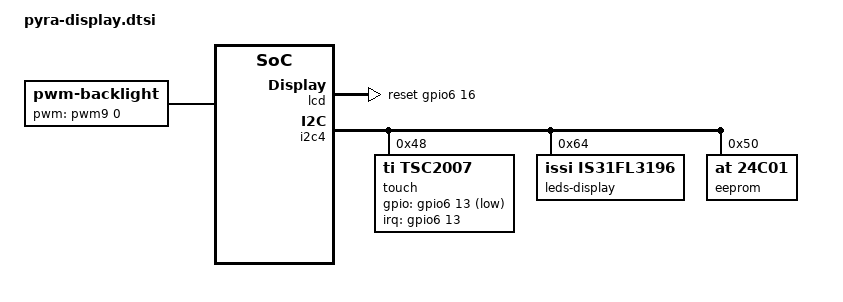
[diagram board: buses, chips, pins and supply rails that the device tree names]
// SPDX-License-Identifier: GPL-2.0-or-later
/*
 * Copyright (C) 2015-2016 OpenPandora - http://www.pyra-handheld.com/
 *
 * This program is free software; you can redistribute it and/or modify
 * it under the terms of the GNU General Public License version 2 as
 * published by the Free Software Foundation.
 */

/* set to e.g. 8300 if display uses a TPS6116x instead of TPS61040 (which is limited to 500 Hz PWM) */
#define BACKLIGHT_FREQ_HZ	83

/ {
	backlight: backlight {
		compatible = "pwm-backlight";
		pwms = <&pwm9 0 (1000000000 / BACKLIGHT_FREQ_HZ) 0>;
		pwm-names = "backlight";
		brightness-levels = <0 5 7 10 12 14 17 20 25 30 35 40 50 65 80 100>;
		default-brightness-level = <14>;	/* 80% */
		pinctrl-names = "default";
		pinctrl-0 = <&pyra_backlight_pins>;
	};

	pwm9: dmtimer-pwm@9 {
		compatible = "ti,omap-dmtimer-pwm";
		ti,timers = <&timer9>;
		#pwm-cells = <3>;
	};
};

/* LCD panel - MIPI */

&mipi_display_pins {
	pinctrl-single,pins = <
		OMAP5_IOPAD(0x124, PIN_OUTPUT_PULLUP | MUX_MODE6)	/* 0x124:[0:15] gpio6_162 - enable panel DC/DC */
		OMAP5_IOPAD(0x10e, PIN_OUTPUT_PULLDOWN | MUX_MODE6)	/* 0x10c:[31:16] gpio6_176 - panel reset */
		>;
};

&lcd {
	reg = <0>;
	compatible = "boe,btl507212-w677l";
	rotation = <90>;
	reset-gpios = <&gpio6 16 0>;	/* goip6_176 = panel reset */
	backlight = <&backlight>;
};

/* devices connected to Panel-I2C */
&i2c4 {
	/* touchscreen */
	touch: tsc2007@48 {
		compatible = "ti,tsc2007";
		reg = <0x48>;
		interrupt-parent = <&gpio6>;
		interrupts = <13 IRQ_TYPE_EDGE_FALLING>;	/* gpio6_173 falling edge */
		gpios = <&gpio6 13 GPIO_ACTIVE_LOW>;	/* gpio6_173 active low */
		pinctrl-names = "default";
		pinctrl-0 = <&pyra_penirq_pins>;
		/* rotated screen */
		touchscreen-size-x = <1280>;
		touchscreen-size-y = <720>;
		touchscreen-swapped-x-y;
		touchscreen-inverted-x;
		touchscreen-inverted-y;
		touchscreen-fuzz-x = <5>;
		touchscreen-fuzz-y = <5>;
		touchscreen-fuzz-pressure = <50>;
		touchscreen-max-pressure = <1000>;
		ti,min-x = <50>;
		ti,max-x = <3900>;
		ti,min-y = <50>;
		ti,max-y = <3900>;
		ti,max-rt = <2000>;
		ti,x-plate-ohms = <550>;
	};

	/* leds */
	leds-display@64 {
		compatible = "issi,is31fl3196";
		#address-cells = <1>;
		#size-cells = <0>;
		reg = <0x64>;

		display_led1: green_bottom@1 {
			label = "logo:green:bottom";
			reg = <1>;
			linux,default-trigger = "mmc0";
		};

		display_led2: red_bottom@2 {
			label = "logo:red:bottom";
			reg = <2>;
			linux,default-trigger = "heartbeat";
		};

		display_led3: blue_bottom@3 {
			label = "logo:blue:bottom";
			reg = <3>;
			linux,default-trigger = "timer";
		};

		display_led4: green_top@4 {
			label = "logo:green:top";
			reg = <4>;
			linux,default-trigger = "default-on";
		};

		display_led5: red_top@5 {
			label = "logo:red:top";
			reg = <5>;
			linux,default-trigger = "timer";
		};

		display_led6: blue_top@6 {
			label = "logo:blue:top";
			reg = <6>;
			linux,default-trigger = "mmc0";
		};
	};

	eeprom@50 {
		compatible = "at,24c01";
		reg = <0x50>;
	};
};
